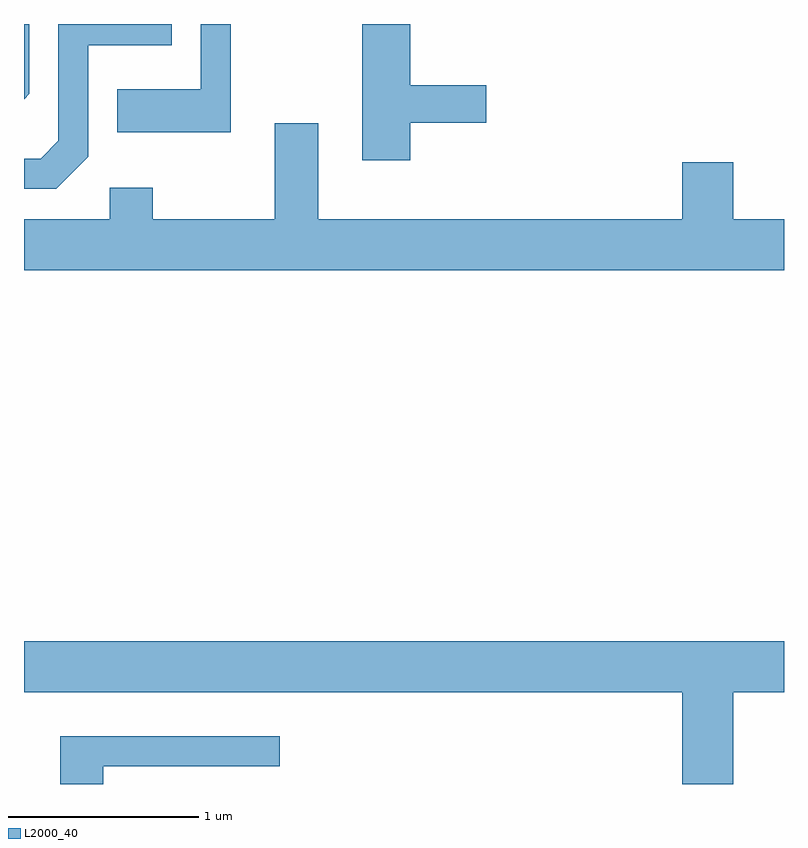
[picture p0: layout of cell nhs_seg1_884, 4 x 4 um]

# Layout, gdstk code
import gdstk
lib = gdstk.Library(unit=1e-6, precision=1e-09)
def P(c, l, *ps):  # polygons
    for p in ps: c.add(gdstk.Polygon(p, *l))
L2000_40 = (2000, 40)

nhs_seg1_884 = lib.new_cell('nhs_seg1_884')
P(nhs_seg1_884, L2000_40, [(212.699,949.712),(212.541,949.712),(212.541,949.369),(212.101,949.369),(212.101,949.141),(212.699,949.141)],
  [(211.639,949.344),(211.639,949.712),(211.611,949.712),(211.611,949.316)],
  [(211.949,949.014),(211.949,949.601),(212.389,949.601),(212.389,949.712),(211.791,949.712),(211.791,949.097),(211.699,949.004),(211.611,949.004),(211.611,948.846),(211.782,948.846)],
  [(213.644,949.191),(214.044,949.191),(214.044,949.389),(213.644,949.389),(213.644,949.712),(213.391,949.712),(213.391,948.996),(213.644,948.996)],
  [(215.611,948.684),(215.344,948.684),(215.344,948.984),(215.076,948.984),(215.076,948.684),(213.159,948.684),(213.159,949.189),(212.931,949.189),(212.931,948.684),(212.289,948.684),(212.289,948.849),(212.061,948.849),(212.061,948.684),(211.611,948.684),(211.611,948.416),(215.611,948.416)],
  [(215.344,946.196),(215.611,946.196),(215.611,946.464),(211.611,946.464),(211.611,946.196),(215.076,946.196),(215.076,945.712),(215.344,945.712)],
  [(212.029,945.806),(212.958,945.806),(212.958,945.964),(211.801,945.964),(211.801,945.712),(212.029,945.712)])

lib.write_gds('nhs_seg1_884.gds')
